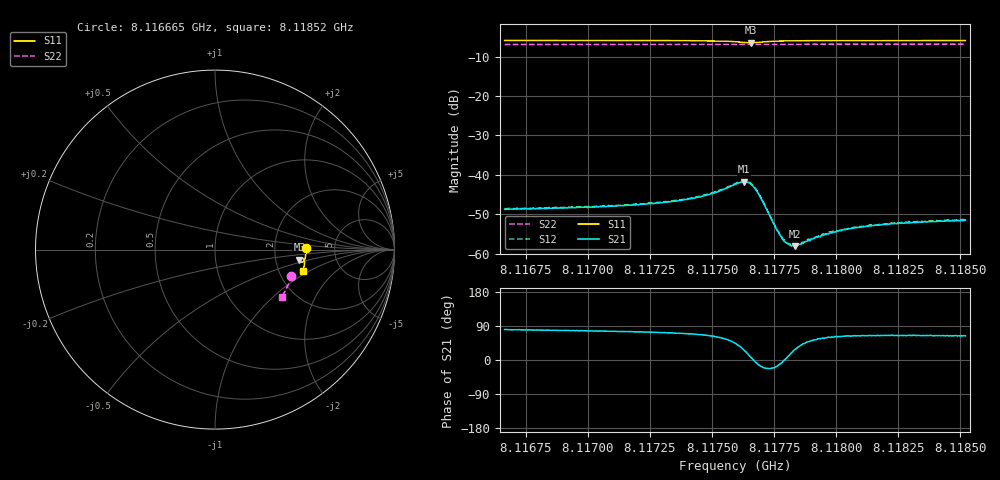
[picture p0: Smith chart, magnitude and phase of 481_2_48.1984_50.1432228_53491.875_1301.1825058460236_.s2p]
#  HZ  S  RI  R  50.00
! Rohde & Schwarz Vector Network Analyzer
! Rohde-Schwarz,ZNB20-2Port,1311601062101988,3.16
! Created: UTC 3/20/2024, 11:57:39 AM
! freq[Hz]  re:S11  im:S11  re:S21  im:S21  re:S12  im:S12  re:S22  im:S22
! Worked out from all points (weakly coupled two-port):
!   401 points, 8.116665 GHz to 8.11852 GHz, reference 50 ohm
!   highest |S21| = -41.72 dB at 8.11763 GHz (marker M1); lowest = -58.1 dB at 8.117834 GHz (marker M2)
!   lowest |S11| = -6.5 dB at 8.117658 GHz (marker M3), VSWR 2.80, Z = 137 - j19.8 ohm
!   |S11| at or under -10 dB: nowhere
!   |S22| runs from -6.9 to -6.8 dB; largest |S21 - S12| = 0.00025
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8.116665e9  0.5069 0.00936  0.000612 0.00359  0.000668 0.00366  0.4261 -0.1462
8.1169757e9  0.5063 -0.0146  0.000861 0.00379  0.000921 0.00382  0.4194 -0.1667
8.1172865e9  0.5038 -0.04  0.00132 0.0042  0.00139 0.00424  0.4116 -0.1871
8.1174535e9  0.5 -0.0557  0.00208 0.00483  0.00215 0.00495  0.407 -0.1979
8.1175184e9  0.496 -0.0631  0.00293 0.00527  0.00303 0.00536  0.405 -0.202
8.1175926e9  0.4841 -0.0704  0.0054 0.00533  0.00557 0.00539  0.4022 -0.207
8.1176297e9  0.4735 -0.0666  0.0074 0.00354  0.00754 0.00361  0.4007 -0.2086
8.1176575e9  0.4707 -0.0562  0.00754 0.000841  0.00768 0.000814  0.4 -0.2099
8.1176715e9  0.4731 -0.0511  0.00679 -0.000394  0.00693 -0.000424  0.3997 -0.2106
8.11769e9  0.4788 -0.0472  0.00537 -0.00131  0.00548 -0.00135  0.3997 -0.2115
8.1177549e9  0.4938 -0.0525  0.00205 -0.000691  0.00211 -0.000712  0.3981 -0.2158
8.1177828e9  0.4964 -0.0565  0.00152 -0.000169  0.0016 -0.00017  0.3975 -0.2178
8.117806e9  0.4975 -0.0598  0.00132 0.00021  0.00134 0.000208  0.3968 -0.2192
8.1178245e9  0.4982 -0.0622  0.00117 0.000478  0.0012 0.000442  0.3961 -0.2205
8.1178338e9  0.4983 -0.0634  0.0011 0.000584  0.00115 0.00057  0.3957 -0.221
8.1178477e9  0.4987 -0.0651  0.00105 0.000729  0.00108 0.000771  0.3955 -0.222
8.1179034e9  0.4989 -0.0712  0.000961 0.00119  0.000963 0.00124  0.3939 -0.2255
8.1179729e9  0.4985 -0.078  0.000903 0.00157  0.000914 0.00165  0.3914 -0.2298
8.1180332e9  0.498 -0.0833  0.000925 0.00179  0.000934 0.00182  0.3895 -0.2337
8.1180796e9  0.4975 -0.0873  0.000952 0.00191  0.000937 0.00195  0.3878 -0.2364
8.1182141e9  0.4955 -0.0983  0.00101 0.00214  0.00104 0.00221  0.3832 -0.2446
8.1185202e9  0.4904 -0.1215  0.00118 0.00239  0.00121 0.00242  0.372 -0.2631
